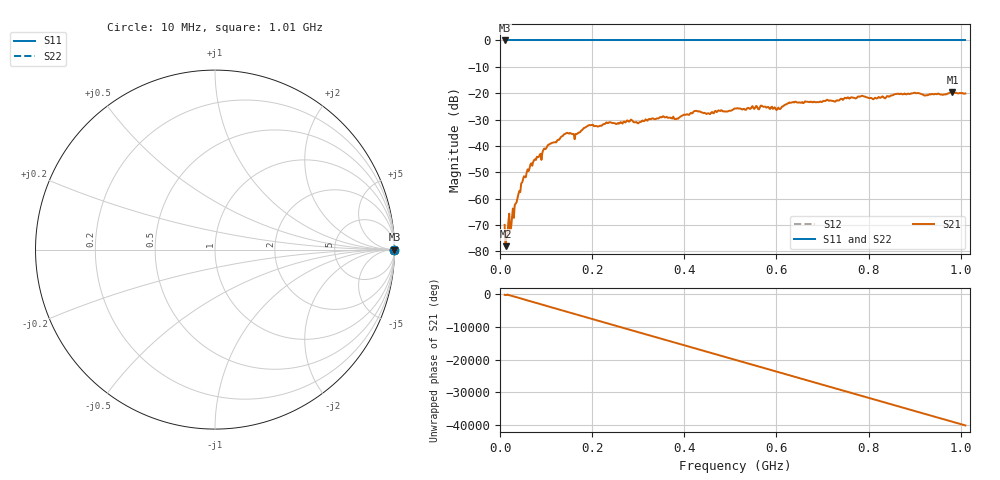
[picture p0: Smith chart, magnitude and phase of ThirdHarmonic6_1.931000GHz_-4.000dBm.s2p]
! 8/16/2025 11:16:13 PM
! C:\ANRITSUVNA\TEMP\TEMP.S2P
! CHANNEL.1
! TR.MEASUREMENT
! RAW.DATA
! RF.CORRECTION.OFF
! AVERAGING.OFF
! IF.BANDWIDTH: 5KHZ
! SWEEPTYPE:  FREQ.SWEEP(Linear)
! Reference Plane Port Info
! PORT:  PORT1  PORT2
! DISTANCE:  0  m  0  m
! TIME:  0  s  0  s
! PHASE.OFFSET:  0  deg.  0  deg.
! LOSS:  0  dB  0  dB
! REF.LOSS:  0  dB  0  dB
! REF.FREQ:  0  Hz  0  Hz
! Power Info
! POWER:  -20  dBm  -20  dBm
! EFF.POWER:  -20  dBm  -20  dBm
! SOURCE.ATTEN:  0  dB  0  dB
! TEST.ATTEN:  0  dB  0  dB
# GHZ S RI R 50.0
! FREQ.GHZ  S11RE  S11IM  S21RE  S21IM  S12RE  S12IM  S22RE  S22IM
!; PortSelection: Port_12
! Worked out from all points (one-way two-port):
!   501 points, 10 MHz to 1.01 GHz, reference 50 ohm
!   highest |S21| = -19.71 dB at 982 MHz (marker M1); lowest = -78.0 dB at 12 MHz (marker M2)
!   lowest |S11| = 0.0 dB at 10 MHz (marker M3)
!   |S11| at or under -10 dB: nowhere
!   |S22| runs from 0.0 to 0.0 dB; largest |S21 - S12| = 1.1
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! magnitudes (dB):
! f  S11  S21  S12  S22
! 10 MHz  0.0  -70.0  0.0  0.0
! 12 MHz  0.0  -78.0  0.0  0.0
! 26 MHz  0.0  -67.4  0.0  0.0
! 30 MHz  0.0  -67.3  0.0  0.0
! 50 MHz  0.0  -52.8  0.0  0.0
! 70 MHz  0.0  -47.5  0.0  0.0
! 108 MHz  0.0  -39.3  0.0  0.0
! 142 MHz  0.0  -35.4  0.0  0.0
! 164 MHz  0.0  -35.5  0.0  0.0
! 178 MHz  0.0  -34.0  0.0  0.0
! 196 MHz  0.0  -32.2  0.0  0.0
! 344 MHz  0.0  -29.6  0.0  0.0
! 382 MHz  0.0  -29.8  0.0  0.0
! 424 MHz  0.0  -26.7  0.0  0.0
! 452 MHz  0.0  -27.6  0.0  0.0
! 510 MHz  0.0  -25.8  0.0  0.0
! 604 MHz  0.0  -25.5  0.0  0.0
! 632 MHz  0.0  -23.6  0.0  0.0
! 678 MHz  0.0  -23.5  0.0  0.0
! 844 MHz  0.0  -21.4  0.0  0.0
! 982 MHz  0.0  -19.7  0.0  0.0
! 1.01 GHz  0.0  -20.1  0.0  0.0
